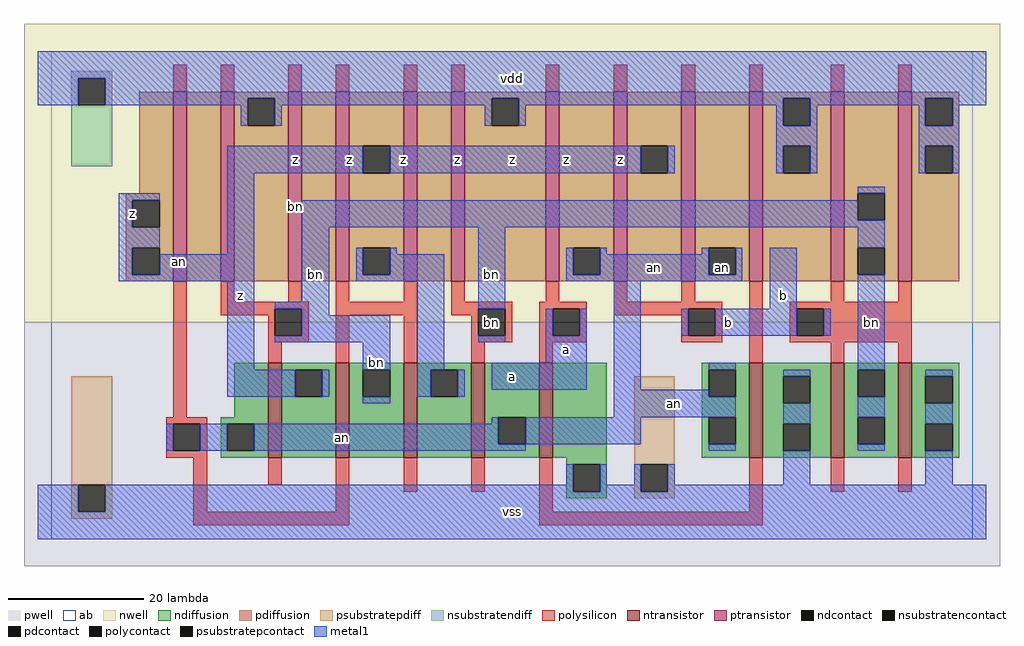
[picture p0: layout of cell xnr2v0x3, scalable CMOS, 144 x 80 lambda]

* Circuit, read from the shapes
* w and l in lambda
.subckt xnr2v0x3 a an b bn vdd vss z
M1 z bn an vss nfet w=14 l=2 m=2
M2 bn an z vss nfet w=14 l=2 m=2
M3 vss a an vss nfet w=14 l=2 m=2
M4 bn b vss vss nfet w=14 l=2 m=2
M5 n1 an z vdd pfet w=28 l=2
M6 vdd bn n1 vdd pfet w=28 l=2
M7 n2 bn vdd vdd pfet w=28 l=2
M8 z an n2 vdd pfet w=28 l=2
M9 n3 an z vdd pfet w=28 l=2
M10 vdd bn n3 vdd pfet w=28 l=2
M11 an a vdd vdd pfet w=28 l=2 m=2
M12 z b an vdd pfet w=28 l=2 m=2
M13 bn b vdd vdd pfet w=28 l=2 m=2
.ends

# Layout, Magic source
magic
tech scmos
<< ab >>
rect 0 0 136 72
<< pwell >>
rect -4 -4 140 32
<< nwell >>
rect -4 32 140 76
<< polysilicon >>
rect 18 66 20 70
rect 25 66 27 70
rect 35 66 37 70
rect 42 66 44 70
rect 52 66 54 70
rect 59 66 61 70
rect 73 66 75 70
rect 83 66 85 70
rect 93 66 95 70
rect 103 66 105 70
rect 115 66 117 70
rect 125 66 127 70
rect 18 18 20 38
rect 25 35 27 38
rect 35 35 37 38
rect 42 35 44 38
rect 52 35 54 38
rect 25 34 38 35
rect 25 33 33 34
rect 32 30 33 33
rect 37 30 38 34
rect 32 29 38 30
rect 42 33 54 35
rect 59 35 61 38
rect 73 35 75 38
rect 83 35 85 38
rect 93 35 95 38
rect 59 34 68 35
rect 59 33 63 34
rect 32 26 34 29
rect 42 26 44 33
rect 52 26 54 33
rect 62 30 63 33
rect 67 30 68 34
rect 62 29 68 30
rect 72 34 79 35
rect 72 30 74 34
rect 78 30 79 34
rect 83 34 99 35
rect 83 33 94 34
rect 72 29 79 30
rect 93 30 94 33
rect 98 30 99 34
rect 93 29 99 30
rect 62 26 64 29
rect 72 26 74 29
rect 103 26 105 38
rect 115 35 117 38
rect 125 35 127 38
rect 109 34 127 35
rect 109 30 110 34
rect 114 30 127 34
rect 109 29 127 30
rect 115 26 117 29
rect 125 26 127 29
rect 17 17 23 18
rect 17 13 18 17
rect 22 13 23 17
rect 17 12 23 13
rect 21 4 23 12
rect 32 8 34 12
rect 42 4 44 12
rect 52 7 54 12
rect 62 7 64 12
rect 21 2 44 4
rect 72 4 74 12
rect 103 4 105 12
rect 115 7 117 12
rect 125 7 127 12
rect 72 2 105 4
<< ndiffusion >>
rect 27 18 32 26
rect 25 17 32 18
rect 25 13 26 17
rect 30 13 32 17
rect 25 12 32 13
rect 34 25 42 26
rect 34 21 36 25
rect 40 21 42 25
rect 34 12 42 21
rect 44 25 52 26
rect 44 21 46 25
rect 50 21 52 25
rect 44 12 52 21
rect 54 25 62 26
rect 54 21 56 25
rect 60 21 62 25
rect 54 12 62 21
rect 64 18 72 26
rect 64 14 66 18
rect 70 14 72 18
rect 64 12 72 14
rect 74 12 82 26
rect 96 25 103 26
rect 76 11 82 12
rect 76 7 77 11
rect 81 7 82 11
rect 76 6 82 7
rect 96 21 97 25
rect 101 21 103 25
rect 96 18 103 21
rect 96 14 97 18
rect 101 14 103 18
rect 96 12 103 14
rect 105 24 115 26
rect 105 20 108 24
rect 112 20 115 24
rect 105 17 115 20
rect 105 13 108 17
rect 112 13 115 17
rect 105 12 115 13
rect 117 25 125 26
rect 117 21 119 25
rect 123 21 125 25
rect 117 18 125 21
rect 117 14 119 18
rect 123 14 125 18
rect 117 12 125 14
rect 127 24 134 26
rect 127 20 129 24
rect 133 20 134 24
rect 127 17 134 20
rect 127 13 129 17
rect 133 13 134 17
rect 127 12 134 13
<< pdiffusion >>
rect 13 51 18 66
rect 11 50 18 51
rect 11 46 12 50
rect 16 46 18 50
rect 11 43 18 46
rect 11 39 12 43
rect 16 39 18 43
rect 11 38 18 39
rect 20 38 25 66
rect 27 65 35 66
rect 27 61 29 65
rect 33 61 35 65
rect 27 38 35 61
rect 37 38 42 66
rect 44 58 52 66
rect 44 54 46 58
rect 50 54 52 58
rect 44 43 52 54
rect 44 39 46 43
rect 50 39 52 43
rect 44 38 52 39
rect 54 38 59 66
rect 61 65 73 66
rect 61 61 65 65
rect 69 61 73 65
rect 61 38 73 61
rect 75 43 83 66
rect 75 39 77 43
rect 81 39 83 43
rect 75 38 83 39
rect 85 58 93 66
rect 85 54 87 58
rect 91 54 93 58
rect 85 38 93 54
rect 95 43 103 66
rect 95 39 97 43
rect 101 39 103 43
rect 95 38 103 39
rect 105 65 115 66
rect 105 61 108 65
rect 112 61 115 65
rect 105 58 115 61
rect 105 54 108 58
rect 112 54 115 58
rect 105 38 115 54
rect 117 51 125 66
rect 117 47 119 51
rect 123 47 125 51
rect 117 43 125 47
rect 117 39 119 43
rect 123 39 125 43
rect 117 38 125 39
rect 127 65 134 66
rect 127 61 129 65
rect 133 61 134 65
rect 127 58 134 61
rect 127 54 129 58
rect 133 54 134 58
rect 127 38 134 54
<< metal1 >>
rect -2 68 138 72
rect -2 64 4 68
rect 8 65 138 68
rect 8 64 29 65
rect 28 61 29 64
rect 33 64 65 65
rect 33 61 34 64
rect 64 61 65 64
rect 69 64 108 65
rect 69 61 70 64
rect 107 61 108 64
rect 112 64 129 65
rect 112 61 113 64
rect 107 58 113 61
rect 26 54 46 58
rect 50 54 87 58
rect 91 54 92 58
rect 107 54 108 58
rect 112 54 113 58
rect 128 61 129 64
rect 133 64 138 65
rect 133 61 134 64
rect 128 58 134 61
rect 128 54 129 58
rect 133 54 134 58
rect 10 50 16 51
rect 10 46 12 50
rect 10 43 16 46
rect 10 39 12 43
rect 26 42 30 54
rect 119 51 123 52
rect 16 39 30 42
rect 10 38 30 39
rect 26 25 30 38
rect 37 47 119 50
rect 37 46 123 47
rect 37 35 41 46
rect 45 39 46 43
rect 50 42 51 43
rect 50 39 58 42
rect 45 38 58 39
rect 33 34 41 35
rect 37 33 41 34
rect 37 30 50 33
rect 33 29 50 30
rect 46 25 50 29
rect 26 21 36 25
rect 40 21 41 25
rect 54 25 58 38
rect 63 34 67 46
rect 119 43 123 46
rect 76 39 77 43
rect 81 42 82 43
rect 96 42 97 43
rect 81 39 97 42
rect 101 39 102 43
rect 76 38 102 39
rect 63 29 67 30
rect 73 30 74 34
rect 78 30 79 34
rect 73 26 79 30
rect 54 21 56 25
rect 60 21 61 25
rect 65 22 79 26
rect 83 22 87 38
rect 106 34 110 43
rect 93 30 94 34
rect 98 30 110 34
rect 114 30 115 34
rect 97 25 101 26
rect 119 25 123 39
rect 83 21 97 22
rect 46 20 50 21
rect 83 18 101 21
rect 65 17 66 18
rect 17 13 18 17
rect 22 13 26 17
rect 30 14 66 17
rect 70 14 87 18
rect 30 13 70 14
rect 97 13 101 14
rect 108 24 112 25
rect 108 17 112 20
rect 119 18 123 21
rect 119 13 123 14
rect 129 24 133 25
rect 129 17 133 20
rect 76 8 77 11
rect -2 4 4 8
rect 8 7 77 8
rect 81 8 82 11
rect 86 8 87 11
rect 81 7 87 8
rect 91 8 92 11
rect 108 8 112 13
rect 129 8 133 13
rect 91 7 138 8
rect 8 4 138 7
rect -2 0 138 4
<< ntransistor >>
rect 32 12 34 26
rect 42 12 44 26
rect 52 12 54 26
rect 62 12 64 26
rect 72 12 74 26
rect 103 12 105 26
rect 115 12 117 26
rect 125 12 127 26
<< ptransistor >>
rect 18 38 20 66
rect 25 38 27 66
rect 35 38 37 66
rect 42 38 44 66
rect 52 38 54 66
rect 59 38 61 66
rect 73 38 75 66
rect 83 38 85 66
rect 93 38 95 66
rect 103 38 105 66
rect 115 38 117 66
rect 125 38 127 66
<< polycontact >>
rect 33 30 37 34
rect 63 30 67 34
rect 74 30 78 34
rect 94 30 98 34
rect 110 30 114 34
rect 18 13 22 17
<< ndcontact >>
rect 26 13 30 17
rect 36 21 40 25
rect 46 21 50 25
rect 56 21 60 25
rect 66 14 70 18
rect 77 7 81 11
rect 97 21 101 25
rect 97 14 101 18
rect 108 20 112 24
rect 108 13 112 17
rect 119 21 123 25
rect 119 14 123 18
rect 129 20 133 24
rect 129 13 133 17
<< pdcontact >>
rect 12 46 16 50
rect 12 39 16 43
rect 29 61 33 65
rect 46 54 50 58
rect 46 39 50 43
rect 65 61 69 65
rect 77 39 81 43
rect 87 54 91 58
rect 97 39 101 43
rect 108 61 112 65
rect 108 54 112 58
rect 119 47 123 51
rect 119 39 123 43
rect 129 61 133 65
rect 129 54 133 58
<< psubstratepcontact >>
rect 4 4 8 8
rect 87 7 91 11
<< nsubstratencontact >>
rect 4 64 8 68
<< psubstratepdiff >>
rect 3 8 9 24
rect 3 4 4 8
rect 8 4 9 8
rect 3 3 9 4
rect 86 11 92 24
rect 86 7 87 11
rect 91 7 92 11
rect 86 6 92 7
<< nsubstratendiff >>
rect 3 68 9 69
rect 3 64 4 68
rect 8 64 9 68
rect 3 55 9 64
<< labels >>
rlabel ptransistor 19 41 19 41 6 an
rlabel ptransistor 36 49 36 49 6 bn
rlabel polycontact 65 32 65 32 6 bn
rlabel metal1 20 40 20 40 6 z
rlabel metal1 12 48 12 48 6 z
rlabel metal1 48 26 48 26 6 bn
rlabel metal1 28 36 28 36 6 z
rlabel metal1 39 39 39 39 6 bn
rlabel metal1 44 56 44 56 6 z
rlabel metal1 36 56 36 56 6 z
rlabel metal1 68 4 68 4 6 vss
rlabel metal1 43 15 43 15 6 an
rlabel metal1 68 24 68 24 6 a
rlabel metal1 76 28 76 28 6 a
rlabel metal1 65 39 65 39 6 bn
rlabel metal1 60 56 60 56 6 z
rlabel metal1 76 56 76 56 6 z
rlabel metal1 68 56 68 56 6 z
rlabel metal1 52 56 52 56 6 z
rlabel metal1 68 68 68 68 6 vdd
rlabel metal1 92 20 92 20 6 an
rlabel metal1 100 32 100 32 6 b
rlabel metal1 89 40 89 40 6 an
rlabel metal1 108 36 108 36 6 b
rlabel pdcontact 99 40 99 40 6 an
rlabel metal1 84 56 84 56 6 z
rlabel metal1 121 32 121 32 6 bn
<< end >>
